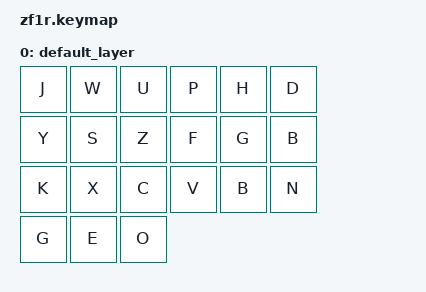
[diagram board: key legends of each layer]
/*
 * Copyright (c) 2021 The ZMK Contributors
 *
 * SPDX-License-Identifier: MIT
 */

#include <behaviors.dtsi>
#include <dt-bindings/zmk/keys.h>
#include <dt-bindings/zmk/bt.h>
#include <dt-bindings/zmk/outputs.h>

#define DEFAULT 0

/ {
	keymap {
		compatible = "zmk,keymap";
		
		default_layer {
			bindings = <
                &kp J   &kp W     &kp U     &kp P    &kp H    &kp D
                &kp Y   &kp S     &kp Z     &kp F    &kp G    &kp B  
                &kp K   &kp X     &kp C     &kp V    &kp B    &kp N   
                &kp G   &kp E     &kp O

			>;
		};

	};
};   
